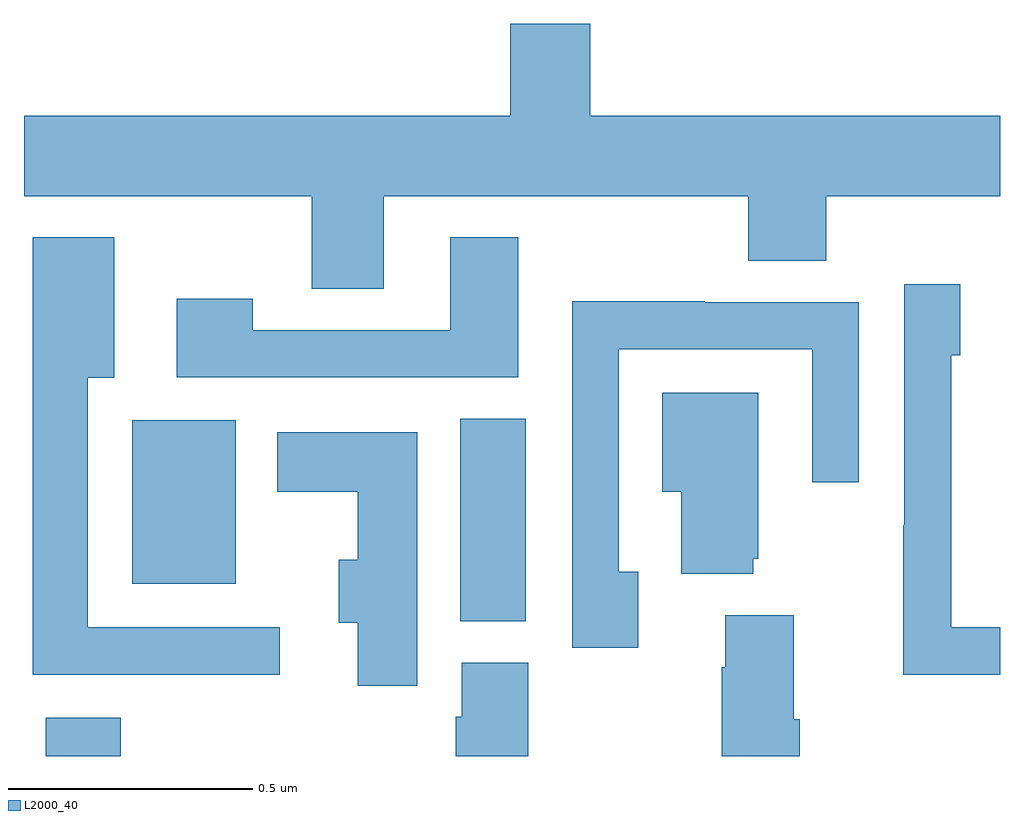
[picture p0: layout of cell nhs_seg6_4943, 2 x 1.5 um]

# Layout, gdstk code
import gdstk
lib = gdstk.Library(unit=1e-6, precision=1e-09)
def R(c, l, rs):  # rectangles x0, y0, x1, y1
    for r in rs: c.add(gdstk.rectangle(r[:2], r[2:], *l))
def P(c, l, *ps):  # polygons
    for p in ps: c.add(gdstk.Polygon(p, *l))
L2000_40 = (2000, 40)

nhs_seg6_4943 = lib.new_cell('nhs_seg6_4943')
R(nhs_seg6_4943, L2000_40, [(176.045,967.5,176.198,967.579), (176.894,967.777,177.028,968.192), (176.222,967.853,176.434,968.188)])
P(nhs_seg6_4943, L2000_40, [(176.737,968.648),(177.484,968.648),(177.484,968.515),(177.644,968.515),(177.644,968.648),(178,968.648),(178,968.812),(177.16,968.812),(177.16,969.001),(176.996,969.001),(176.996,968.812),(176,968.812),(176,968.648),(176.59,968.648),(176.59,968.458),(176.737,968.458)],
  [(177.013,968.563),(176.873,968.563),(176.873,968.373),(176.469,968.373),(176.469,968.437),(176.313,968.437),(176.313,968.277),(177.013,968.277)],
  [(176.524,967.764),(176.131,967.764),(176.131,968.276),(176.185,968.276),(176.185,968.563),(176.018,968.563),(176.018,967.667),(176.524,967.667)],
  [(178,967.764),(177.9,967.764),(177.9,968.322),(177.919,968.322),(177.919,968.467),(177.804,968.467),(177.804,967.973),(177.802,967.973),(177.802,967.667),(178,967.667)],
  [(177.259,967.878),(177.219,967.878),(177.219,968.334),(177.615,968.334),(177.615,968.061),(177.711,968.061),(177.711,968.43),(177.395,968.43),(177.395,968.432),(177.123,968.432),(177.123,967.722),(177.259,967.722)],
  [(177.494,967.905),(177.505,967.905),(177.505,968.245),(177.308,968.245),(177.308,968.042),(177.347,968.042),(177.347,967.874),(177.494,967.874)],
  [(176.806,968.164),(176.519,968.164),(176.519,968.042),(176.684,968.042),(176.684,967.903),(176.645,967.903),(176.645,967.774),(176.684,967.774),(176.684,967.644),(176.806,967.644)],
  [(177.59,967.576),(177.577,967.576),(177.577,967.789),(177.437,967.789),(177.437,967.682),(177.43,967.682),(177.43,967.5),(177.59,967.5)],
  [(177.033,967.692),(176.897,967.692),(176.897,967.581),(176.885,967.581),(176.885,967.5),(177.033,967.5)])

lib.write_gds('nhs_seg6_4943.gds')
